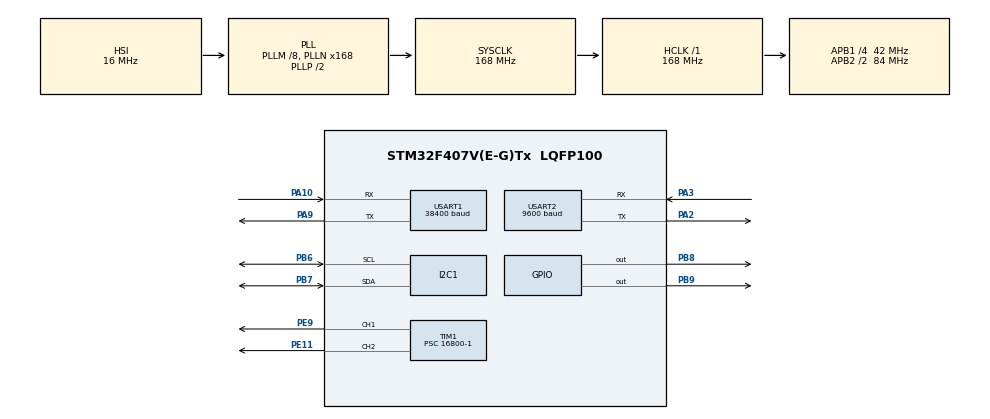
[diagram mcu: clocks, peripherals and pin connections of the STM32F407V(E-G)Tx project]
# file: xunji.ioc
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I2C1.I2C_Mode=I2C_Standard
Mcu.Family=STM32F4
Mcu.Name=STM32F407V(E-G)Tx
Mcu.Package=LQFP100
NVIC.I2C1_ER_IRQn=true\:0\:0\:false\:false\:true\:true\:true\:true
NVIC.I2C1_EV_IRQn=true\:2\:0\:true\:false\:true\:true\:true\:true
NVIC.PriorityGroup=NVIC_PRIORITYGROUP_4
NVIC.TIM1_BRK_TIM9_IRQn=true\:3\:0\:true\:false\:true\:true\:true\:true
NVIC.TIM1_UP_TIM10_IRQn=true\:3\:0\:true\:false\:true\:true\:true\:true
NVIC.TIM2_IRQn=true\:3\:0\:true\:false\:true\:true\:true\:true
NVIC.USART1_IRQn=true\:2\:0\:true\:false\:true\:true\:true\:true
NVIC.USART2_IRQn=true\:2\:0\:true\:false\:true\:true\:true\:true
PA10.Mode=Asynchronous
PA10.Signal=USART1_RX
PA13.Mode=Serial_Wire
PA13.Signal=SYS_JTMS-SWDIO
PA14.Mode=Serial_Wire
PA14.Signal=SYS_JTCK-SWCLK
PA2.Mode=Asynchronous
PA2.Signal=USART2_TX
PA3.Mode=Asynchronous
PA3.Signal=USART2_RX
PA9.Mode=Asynchronous
PA9.Signal=USART1_TX
PB6.GPIO_Pu=GPIO_PULLUP
PB6.GPIO_Speed=GPIO_SPEED_FREQ_MEDIUM
PB6.Mode=I2C
PB6.Signal=I2C1_SCL
PB7.GPIO_Pu=GPIO_PULLUP
PB7.GPIO_Speed=GPIO_SPEED_FREQ_MEDIUM
PB7.Mode=I2C
PB7.Signal=I2C1_SDA
PB8.GPIO_ModeDefaultOutputPP=GPIO_MODE_OUTPUT_OD
PB8.GPIO_PuPd=GPIO_PULLUP
PB8.GPIO_Speed=GPIO_SPEED_FREQ_VERY_HIGH
PB8.PinState=GPIO_PIN_SET
PB8.Signal=GPIO_Output
PB9.GPIO_ModeDefaultOutputPP=GPIO_MODE_OUTPUT_OD
PB9.GPIO_PuPd=GPIO_PULLUP
PB9.GPIO_Speed=GPIO_SPEED_FREQ_VERY_HIGH
PB9.PinState=GPIO_PIN_SET
PB9.Signal=GPIO_Output
PE11.Signal=S_TIM1_CH2
PE9.Signal=S_TIM1_CH1
PH0-OSC_IN.Mode=HSE-External-Oscillator
PH0-OSC_IN.Signal=RCC_OSC_IN
PH1-OSC_OUT.Mode=HSE-External-Oscillator
PH1-OSC_OUT.Signal=RCC_OSC_OUT
ProjectManager.HeapSize=0x200
ProjectManager.StackSize=0x400
ProjectManager.TargetToolchain=MDK-ARM V5.32
RCC.48MHZClocksFreq_Value=84000000
RCC.AHBFreq_Value=168000000
RCC.APB1CLKDivider=RCC_HCLK_DIV4
RCC.APB1Freq_Value=42000000
RCC.APB1TimFreq_Value=84000000
RCC.APB2CLKDivider=RCC_HCLK_DIV2
RCC.APB2Freq_Value=84000000
RCC.APB2TimFreq_Value=168000000
RCC.CortexFreq_Value=168000000
RCC.HCLKFreq_Value=168000000
RCC.HSE_VALUE=25000000
RCC.HSI_VALUE=16000000
RCC.LSE_VALUE=32768
RCC.PLLM=8
RCC.PLLN=168
RCC.SYSCLKFreq_VALUE=168000000
RCC.SYSCLKSource=RCC_SYSCLKSOURCE_PLLCLK
RCC.VCOOutputFreq_Value=336000000
SH.S_TIM1_CH1.0=TIM1_CH1,PWM Generation1 CH1
SH.S_TIM1_CH2.0=TIM1_CH2,PWM Generation2 CH2
TIM1.Channel-PWM\ Generation1\ CH1=TIM_CHANNEL_1
TIM1.Channel-PWM\ Generation2\ CH2=TIM_CHANNEL_2
TIM1.Period=1000-1
TIM1.Prescaler=16800-1
TIM2.Period=1000-1
TIM2.Prescaler=16800-1
USART1.BaudRate=38400
USART1.VirtualMode=VM_ASYNC
USART2.BaudRate=9600
USART2.VirtualMode=VM_ASYNC
VP_TIM1_VS_ClockSourceINT.Mode=Internal
VP_TIM2_VS_ClockSourceINT.Mode=Internal
board=custom

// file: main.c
/* USER CODE BEGIN Header */
/**
  ******************************************************************************
  * @file           : main.c
  * @brief          : Main program body
  ******************************************************************************
  * @attention
  *
  * Copyright (c) 2025 STMicroelectronics.
  * All rights reserved.
  *
  * This software is licensed under terms that can be found in the LICENSE file
  * in the root directory of this software component.
  * If no LICENSE file comes with this software, it is provided AS-IS.
  *
  ******************************************************************************
  */
/* USER CODE END Header */
#include "main.h"
#include "i2c.h"
#include "tim.h"
#include "usart.h"
#include "gpio.h"

/* USER CODE BEGIN Includes */
#include "gw_sensor.h"
#include "find_addr.h"
#include "string.h"
#include "sys.h"
#include "oled.h"
#include "bmp.h"
#include "delay.h"
//#include "Delay.h"
//#include "OLED.h"
/* USER CODE END Includes */

void SystemClock_Config(void);
/* USER CODE BEGIN PFP */

  int ret_transmit, ret_receive;
	uint8_t recv_value = 0;
	uint8_t i2c_cmd;
	uint8_t sensor_arr[8];
/* USER CODE END PFP */

int main(void)
{

  /* MCU Configuration--------------------------------------------------------*/

  /* Reset of all peripherals, Initializes the Flash interface and the Systick. */
  HAL_Init();

  /* Configure the system clock */
  SystemClock_Config();

  /* Initialize all configured peripherals */
  MX_GPIO_Init();
  MX_TIM1_Init();
  MX_USART1_UART_Init();
  MX_I2C1_Init();
  MX_USART2_UART_Init();
  MX_TIM2_Init();
  /* USER CODE BEGIN 2 */
	HAL_TIM_Base_Start_IT(&htim1);
	HAL_TIM_Base_Start_IT(&htim2);
	HAL_TIM_PWM_Start(&htim1,TIM_CHANNEL_1);
	HAL_TIM_PWM_Start(&htim1,TIM_CHANNEL_2);
	delay_init(168);

 	OLED_Init();				//初始化OLED
	//测试OLED
	OLED_Clear();
	OLED_ShowString(0,0,"ABC",12);//6*12 “ABC”
	OLED_ShowString(0,12,"ABC",16);//8*16 “ABC”
	OLED_ShowString(0,28,"ABC",24);//12*24 “ABC”
	OLED_Refresh();

	i2c_cmd = GW_GRAY_DIGITAL_MODE;
	ret_transmit = HAL_I2C_Master_Transmit(&hi2c1, GW_GRAY_ADDR << 1, &i2c_cmd, 1, 5000);
//	if (ret_transmit != HAL_OK) {
//		Error_Handler();
//	}
  /* USER CODE END 2 */

  /* Infinite loop */
  while (1)
  {

  }
}

void SystemClock_Config(void)
{
  RCC_OscInitTypeDef RCC_OscInitStruct = {0};
  RCC_ClkInitTypeDef RCC_ClkInitStruct = {0};

  /** Configure the main internal regulator output voltage
  */
  __HAL_RCC_PWR_CLK_ENABLE();
  __HAL_PWR_VOLTAGESCALING_CONFIG(PWR_REGULATOR_VOLTAGE_SCALE1);

  /** Initializes the RCC Oscillators according to the specified parameters
  * in the RCC_OscInitTypeDef structure.
  */
  RCC_OscInitStruct.OscillatorType = RCC_OSCILLATORTYPE_HSI;
  RCC_OscInitStruct.HSIState = RCC_HSI_ON;
  RCC_OscInitStruct.HSICalibrationValue = RCC_HSICALIBRATION_DEFAULT;
  RCC_OscInitStruct.PLL.PLLState = RCC_PLL_ON;
  RCC_OscInitStruct.PLL.PLLSource = RCC_PLLSOURCE_HSI;
  RCC_OscInitStruct.PLL.PLLM = 8;
  RCC_OscInitStruct.PLL.PLLN = 168;
  RCC_OscInitStruct.PLL.PLLP = RCC_PLLP_DIV2;
  RCC_OscInitStruct.PLL.PLLQ = 4;
  if (HAL_RCC_OscConfig(&RCC_OscInitStruct) != HAL_OK)
  {
    Error_Handler();
  }

  /** Initializes the CPU, AHB and APB buses clocks
  */
  RCC_ClkInitStruct.ClockType = RCC_CLOCKTYPE_HCLK|RCC_CLOCKTYPE_SYSCLK
                              |RCC_CLOCKTYPE_PCLK1|RCC_CLOCKTYPE_PCLK2;
  RCC_ClkInitStruct.SYSCLKSource = RCC_SYSCLKSOURCE_PLLCLK;
  RCC_ClkInitStruct.AHBCLKDivider = RCC_SYSCLK_DIV1;
  RCC_ClkInitStruct.APB1CLKDivider = RCC_HCLK_DIV4;
  RCC_ClkInitStruct.APB2CLKDivider = RCC_HCLK_DIV2;

  if (HAL_RCC_ClockConfig(&RCC_ClkInitStruct, FLASH_LATENCY_5) != HAL_OK)
  {
    Error_Handler();
  }
}

void Error_Handler(void)
{
  __disable_irq();
  while (1)
  {
  }
}
